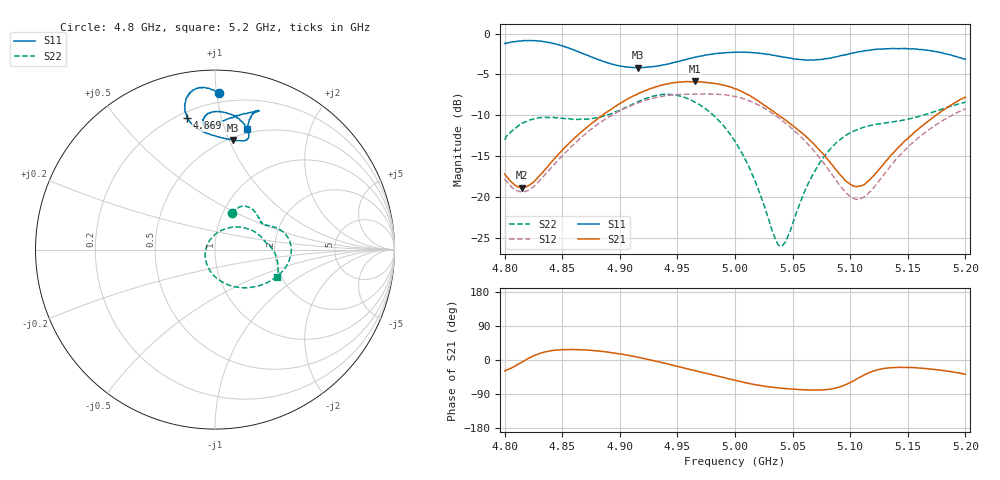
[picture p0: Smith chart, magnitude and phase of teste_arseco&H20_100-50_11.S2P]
! Network Analyzer HP8722D
! Hewlett-Packard
! Data name: Linha & Wilkinson
! Saver's name: Rodrigo Anjos
! Comments: Teste da utilização de aquisição
! continua pelo VNA HP8722D
! Time and date: 6/5/2025 12:39
!  Frequency  S11  S21  S12  S22
# HZ  S  MA R 50
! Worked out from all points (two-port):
!   401 points, 4.8 GHz to 5.2 GHz, reference 50 ohm
!   highest |S21| = -5.86 dB at 4.965 GHz (marker M1); lowest = -18.9 dB at 4.815 GHz (marker M2)
!   |S21| within 3 dB of the highest: 4.897 GHz to 5.026 GHz (129.6 MHz wide, 2.61 % of centre); 5.186413 GHz to end of sweep
!   lowest |S11| = -4.2 dB at 4.916 GHz (marker M3), VSWR 4.23, Z = 26.2 + j51.5 ohm
!   |S11| at or under -10 dB: nowhere
!   |S22| runs from -26.0 to -7.4 dB; largest |S21 - S12| = 0.88
!   S11 on the Smith chart (normalised r, x): 4.8 GHz: 0.14, +1.01; 4.869 GHz: 0.24, +0.78; 5.2 GHz: 0.46, +1.20
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4.8e9  0.87 88.7  0.1384 -28.8  0.1289 99.5  0.2238 64.9
4.815e9  0.9007 93.1  0.1138 -5.3  0.1072 119.9  0.2823 58.6
4.845e9  0.8604 100.5  0.1772 26.2  0.1635 150.9  0.3047 40.5
4.867e9  0.7585 102.0  0.2512 26.8  0.2323 154.8  0.2979 31.1
4.869e9  0.7485 101.9  0.2583 26.6  0.2393 154.7  0.3 30.4
4.896e9  0.6433 92.6  0.358 18.2  0.3247 149.1  0.332 23.8
4.916e9  0.6173 80.7  0.4292 7.0  0.3763 141.3  0.3824 16.2
4.934e9  0.6348 74.0  0.4778 -5.0  0.4103 131.2  0.4212 4.9
4.965e9  0.7151 76.6  0.5092 -28.3  0.4257 111.9  0.3812 -22.1
4.984e9  0.7548 82.2  0.4936 -41.6  0.4257 99.5  0.3031 -43.0
5e9  0.7691 87.5  0.4592 -53.6  0.4122 88.1  0.2184 -66.6
5.02e9  0.7609 93.0  0.3884 -66.3  0.3671 74.2  0.1123 -107.8
5.034e9  0.7355 94.7  0.3311 -72.5  0.3194 66.8  0.05776 -160.8
5.039e9  0.7235 95.3  0.3124 -73.8  0.3006 64.8  0.04999 168.1
5.046e9  0.7117 95.6  0.2873 -75.8  0.2747 62.2  0.05745 124.2
5.067e9  0.69 92.9  0.2163 -79.2  0.1976 58.5  0.135 61.4
5.084e9  0.7116 87.4  0.1582 -76.3  0.1376 63.3  0.2011 37.6
5.105e9  0.7674 79.0  0.1156 -51.2  0.09686 92.1  0.256 19.3
5.115e9  0.7891 75.6  0.124 -35.5  0.1036 110.1  0.2714 13.8
5.134e9  0.8071 72.8  0.175 -20.7  0.1513 126.4  0.2863 7.8
5.17e9  0.7844 74.3  0.2991 -23.8  0.2631 122.0  0.3276 -1.4
5.2e9  0.6961 75.0  0.4077 -37.8  0.3475 110.6  0.3798 -23.9
